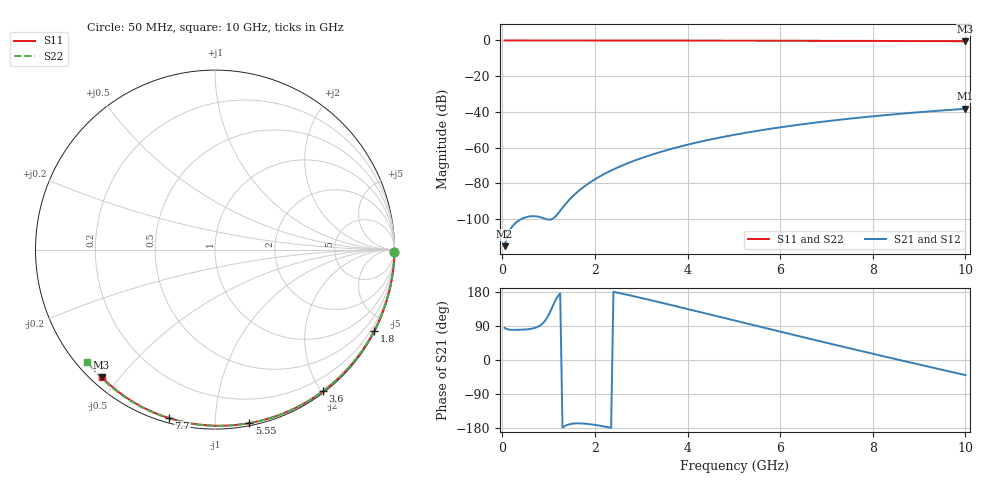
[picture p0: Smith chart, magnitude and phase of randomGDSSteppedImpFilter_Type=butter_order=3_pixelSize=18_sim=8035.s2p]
! freq	dB(S11)	phase(S11)	dB(S12)	phase(S12)
!  dB(S21)	phase(S21)	dB(S22)	phase(S22)
!S-par simulation data
#  GHz  S  DB  R 50
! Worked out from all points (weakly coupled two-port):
!   200 points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, 50 MHz to 10 GHz, reference 50 ohm
!   highest |S21| = -38.25 dB at 10 GHz (marker M1); lowest = -115.1 dB at 50 MHz (marker M2)
!   lowest |S11| = -0.4 dB at 10 GHz (marker M3), VSWR 39.16, Z = 1.53 - j22.4 ohm
!   |S11| at or under -10 dB: nowhere
!   |S22| runs from -0.5 to 0.0 dB; largest |S21 - S12| = 0
!   S11 on the Smith chart (normalised r, x): 50 MHz: open; 1.8 GHz: 0.04, -4.17; 3.6 GHz: 0.02, -2.01; 5.55 GHz: 0.02, -1.22; 7.7 GHz: 0.02, -0.76; 10 GHz: 0.03, -0.45
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0.05  -0.00 -0.8  -115.13 84.7  -115.13 84.7  -0.00 -0.8
0.45  -0.01 -6.8  -99.48 80.2  -99.48 80.2  -0.01 -7.2
0.9  -0.02 -13.6  -99.57 100.2  -99.57 100.2  -0.02 -14.4
1.75  -0.03 -26.3  -82.11 -167.7  -82.11 -167.7  -0.04 -27.7
1.8  -0.03 -27.0  -81.14 -168.2  -81.14 -168.2  -0.04 -28.4
1.85  -0.04 -27.7  -80.23 -168.8  -80.23 -168.8  -0.04 -29.2
2.25  -0.04 -33.6  -74.07 -176.5  -74.07 -176.5  -0.05 -35.3
2.45  -0.05 -36.5  -71.56 178.6  -71.56 178.6  -0.05 -38.4
2.65  -0.05 -39.4  -69.32 173.4  -69.32 173.4  -0.05 -41.4
3  -0.06 -44.4  -65.88 163.8  -65.88 163.8  -0.06 -46.7
3.4  -0.07 -50.0  -62.53 152.3  -62.53 152.3  -0.07 -52.6
3.6  -0.07 -52.8  -61.03 146.4  -61.03 146.4  -0.07 -55.5
3.9  -0.08 -56.9  -58.98 137.5  -58.98 137.5  -0.08 -59.9
4.3  -0.09 -62.4  -56.52 125.6  -56.52 125.6  -0.09 -65.6
5.05  -0.11 -72.4  -52.61 103.2  -52.61 103.2  -0.12 -76.0
5.55  -0.13 -78.8  -50.40 88.3  -50.40 88.3  -0.14 -82.8
6.1  -0.15 -85.8  -48.24 71.9  -48.24 71.9  -0.16 -90.1
6.7  -0.18 -93.2  -46.17 54.2  -46.17 54.2  -0.19 -97.9
7.7  -0.24 -105.3  -43.22 25.1  -43.22 25.1  -0.25 -110.6
8.35  -0.29 -112.9  -41.59 6.4  -41.59 6.4  -0.30 -118.6
9.2  -0.36 -122.6  -39.74 -17.6  -39.74 -17.6  -0.38 -129.0
10  -0.44 -131.7  -38.25 -39.8  -38.25 -39.8  -0.47 -138.6
